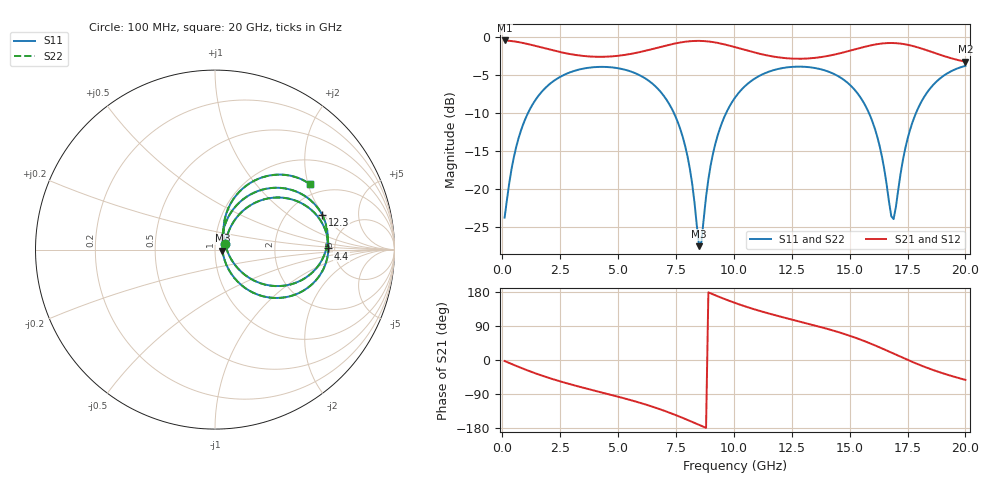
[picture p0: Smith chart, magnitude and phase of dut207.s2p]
! Touchstone file exported from HFSS 2026.1.0
!  File:  C:/ffzhzh/LocalFiles/Ansys_Project_Files/temp_train_TSV_RDL_207_1783061240_17544.aedt
!  Generated:  03:01:45 PM Jul  3, 2026
!  Design:  TSV_RDL
!  Project:  temp_train_TSV_RDL_207_1783061240_17544
! Variables:
!  h_bsmrdl = 5.33um
!  h_ox = 20um
!  h_rdl = 5um
!  h_sub = 72.94um
!  h_tmrdl = 2.11um
!  h_tsv = 72.94um
!  h_via = 3um
!  l_bsmrdl = 895.7um
!  l_sub = 6738.04um
!  l_tmrdl = 883.02um
!  m_sub = 200um
!  pitch = 58.02um
!  r_tsv = 7.79um
!  s_tmrdl = 10um
!  w_bsmrdl = 28.23um
!  w_sub = 500um
!  w_tmrdl = 11.39um
!  x_tsv_center1 = 888.715um
!  x_tsv_center2 = 1812.645um
!  x_tsv_center3 = 2707.055um
!  x_tsv_center4 = 3630.985um
!  x_tsv_center5 = 4525.395um
!  x_tsv_center6 = 5449.325um
# GHz S MA R 50.000000
! Terminal data exported
! Port[1] = TM_RDL1_1_T1
! Port[2] = TM_RDL5_1_T1
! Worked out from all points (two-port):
!   200 points, 100 MHz to 20 GHz, reference 50 ohm
!   highest |S21| = -0.51 dB at 100 MHz (marker M1); lowest = -3.3 dB at 20 GHz (marker M2)
!   |S21| within 3 dB of the highest: start of sweep to end of sweep
!   lowest |S11| = -27.6 dB at 8.5 GHz (marker M3), VSWR 1.09, Z = 54.3 - j0.629 ohm
!   |S11| at or under -10 dB: start of sweep to 1.119 GHz; 7.403 GHz to 9.676 GHz (2.273 GHz wide, 26.6 % of centre); 15.83 GHz to 17.88 GHz (2.049 GHz wide, 12.2 % of centre)
!   |S22| runs from -27.6 to -3.9 dB; largest |S21 - S12| = 1.6e-14
!   S11 on the Smith chart (normalised r, x): 100 MHz: 1.12, +0.06; 4.4 GHz: 4.43, +0.09; 12.3 GHz: 3.01, +1.94; 20 GHz: 1.65, +2.05
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0.1  0.06447 26.5  0.9432 -2.7  0.9432 -2.7  0.06447 26.5
! Gamma 0 0 0 0
! Port Impedance 50 0 50 0
0.6  0.1877 56.3  0.9256 -15.6  0.9256 -15.6  0.1877 56.3
1.2  0.3346 50.1  0.8863 -30.0  0.8863 -30.0  0.3346 50.1
2.2  0.5083 33.5  0.8106 -50.9  0.8106 -50.9  0.5083 33.5
3.5  0.6158 13.5  0.746 -73.3  0.746 -73.3  0.6158 13.5
4.4  0.632 0.6  0.7367 -87.3  0.7367 -87.3  0.632 0.6
5.6  0.5858 -17.3  0.7719 -106.8  0.7719 -106.8  0.5858 -17.3
6.8  0.4397 -37.8  0.8525 -129.7  0.8525 -129.7  0.4397 -37.8
7.9  0.1901 -55.6  0.9251 -155.6  0.9251 -155.6  0.19 -55.7
8.2  0.1078 -53.4  0.9346 -163.3  0.9346 -163.3  0.1077 -53.5
8.5  0.04183 -7.9  0.9371 -171.2  0.9371 -171.2  0.04157 -8.0
9.2  0.197 67.8  0.9149 170.7  0.9149 170.7  0.197 67.8
10.1  0.4062 53.6  0.8482 149.6  0.8482 149.6  0.4062 53.6
12.3  0.6273 18.2  0.72 109.9  0.72 109.9  0.6274 18.1
13.4  0.625 2.5  0.7219 92.7  0.7219 92.7  0.6251 2.4
15.6  0.3697 -32.9  0.8532 50.8  0.8532 50.8  0.3697 -33.0
16.2  0.2178 -40.2  0.8923 35.8  0.8923 35.8  0.2177 -40.3
16.7  0.08233 -20.6  0.9074 22.3  0.9074 22.3  0.08207 -20.8
16.9  0.06307 25.3  0.9071 16.8  0.9071 16.8  0.06268 25.3
17.4  0.1829 72.4  0.8898 3.1  0.8898 3.1  0.1827 72.4
18.1  0.3732 65.6  0.8351 -14.9  0.8351 -14.9  0.3731 65.6
20  0.6418 34.7  0.6841 -52.5  0.6841 -52.5  0.6417 34.6
